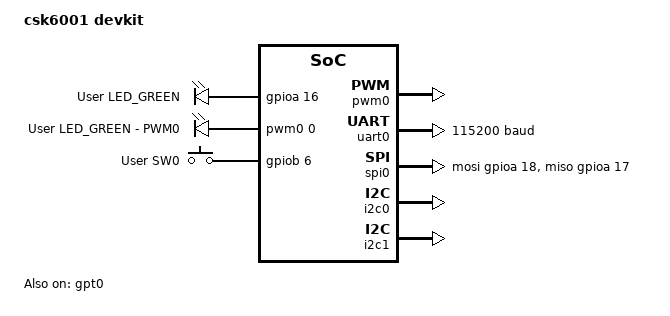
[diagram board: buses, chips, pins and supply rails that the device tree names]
/* SPDX-License-Identifier: Apache-2.0 */

/dts-v1/;
#include <csk/csk6001.dtsi>
#include <dt-bindings/pwm/pwm.h>

/ {
        model = "csk6001 devkit";
        compatible = "csk,csk6001devkit";
        aliases {
                led0 = &green_led;
                sw0 = &user_button_0;
                pwm-led0 = &green_pwm_led;
                i2c-0 = &i2c0;
                i2c-1 = &i2c1;
        };

        chosen {
                zephyr,console = &uart0;
                zephyr,shell-uart = &uart0;
                zephyr,sram = &sram0;
                zephyr,itcm = &itcm0;
                zephyr,flash = &flash0;
                /* other chosen settings  for your hardware */
        };

        leds {
                compatible = "gpio-leds";
                green_led: led_1 {
                        gpios = <&gpioa 16 0>;
                        label = "User LED_GREEN";
                };
        };

        pwmleds {
		compatible = "pwm-leds";
		green_pwm_led: green_pwm_led {
			pwms = <&pwm0 0 PWM_POLARITY_NORMAL>;
			label = "User LED_GREEN - PWM0";
		};

	};

        gpio_keys {
                compatible = "gpio-keys";
                user_button_0: button_0 {
                        label = "User SW0";
                        gpios = <&gpiob 6 0>;
                };
        };

        /*
         * Your board-specific hardware: buttons, LEDs, sensors, etc.
         */
};

&gpt0 {
	status = "okay";

	pwm0: pwm0 {
                pinmuxs = <&pinmuxa 16 11>;
                clock-prescaler = <128>;
                status = "okay";
	};

};

&gpioa {
        status = "okay";
};

&gpiob {
        status = "okay";
};

&uart0 {
        current-speed = <115200>;
        pinmuxs = <&pinmuxa 2 2>, <&pinmuxa 3 2>;
        pinmux-names = "RXD", "TXD";
        status = "okay";
};

&uart1 {
        status = "disabled";
};

&uart2 {
        status = "disabled";
};

&spi0 {
    miso-gpios = <&gpioa 17 0>;
    mosi-gpios = <&gpioa 18 0>;
    sclk-gpios = <&gpioa 19 0>;
    cs-gpios = <&gpioa 20 0>;
    status = "okay";
};

&spi1 {
    status = "disabled";
};

&i2c0 {
        status = "okay";
        pinmuxs = <&pinmuxa 4 8>, <&pinmuxa 5 8>;
        pinmux-names = "SCL", "SDA";
};

&i2c1 {
        status = "okay";
        pinmuxs = <&pinmuxa 6 9>, <&pinmuxa 7 9>;
        pinmux-names = "SCL", "SDA";
};

&green_led {
        status = "okay";
};

&mailbox0 {
	status = "okay";
};

&dma0 {
	dma-channels = <6>;
	status = "okay";
};
